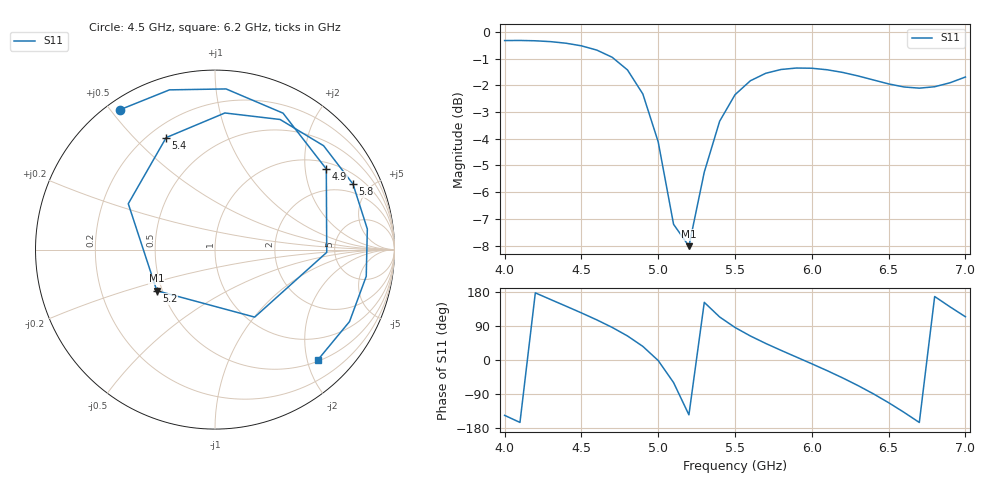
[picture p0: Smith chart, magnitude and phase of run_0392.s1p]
! Touchstone file exported from HFSS 2024.2.0
!  File:  C:/Users/wsak9/Desktop/Sim Fast/Widenad Patch/WP_AI_V1_sweep.aedt
!  Generated:  07:49:07 AM Oct 14, 2026
!  Design:  A1_model
!  Project:  WP_AI_V1_sweep
!  Setup:  Setup1
!  Solution:  Sweep
! Variables:
!  Air_gap = 4.63mm
!  Curve_Amp1 = 1.89
!  Curve_len1 = 1
!  Curve_pos = 11.395mm
!  Extra = 0.63mm
!  H_sub = 0.79mm
!  L_Patch = 18.79mm
!  L_Patch1 = 10.46mm
!  Sx = 1.32mm
!  Sy = 4.05mm
!  WS = 1.05mm
!  W_Patch = 11.57mm
!  W_Patch1 = 9.83mm
!Data is not renormalized
# GHz S MA
! Terminal data exported
! Port[1] = 1
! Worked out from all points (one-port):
!   31 points, 4 GHz to 7 GHz, reference per port
!   lowest |S11| = -8.0 dB at 5.2 GHz (marker M1), VSWR 2.32
!   |S11| at or under -10 dB: nowhere
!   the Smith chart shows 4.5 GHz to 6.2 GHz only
!   S11 on the Smith chart (normalised r, x): 4.5 GHz: 0.04, +0.53; 4.9 GHz: 1.20, +2.60; 5.2 GHz: 0.47, -0.25; 5.4 GHz: 0.27, +0.62; 5.8 GHz: 1.47, +3.91; 6.2 GHz: 0.52, -2.19
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4  0.9642 -146.1
4.1  0.9647 -164.8
4.2  0.9633 177.2
4.4  0.9532 142.0
4.5  0.9426 124.3
4.6  0.9254 105.9
4.7  0.8973 86.1
4.8  0.8495 63.5
4.9  0.7657 35.9
5  0.6227 -1.4
5.1  0.4363 -59.5
5.2  0.397 -144.7
5.3  0.5466 152.1
5.4  0.6807 113.6
5.5  0.7632 85.9
5.6  0.8106 63.4
5.8  0.8511 25.4
5.9  0.8565 7.7
6  0.8557 -10.0
6.2  0.8404 -47.1
6.3  0.8279 -67.3
6.4  0.8136 -89.1
6.5  0.7997 -112.6
6.6  0.7892 -138.0
6.7  0.7852 -164.9
6.8  0.79 167.5
6.9  0.8037 140.2
7  0.8238 114.1
